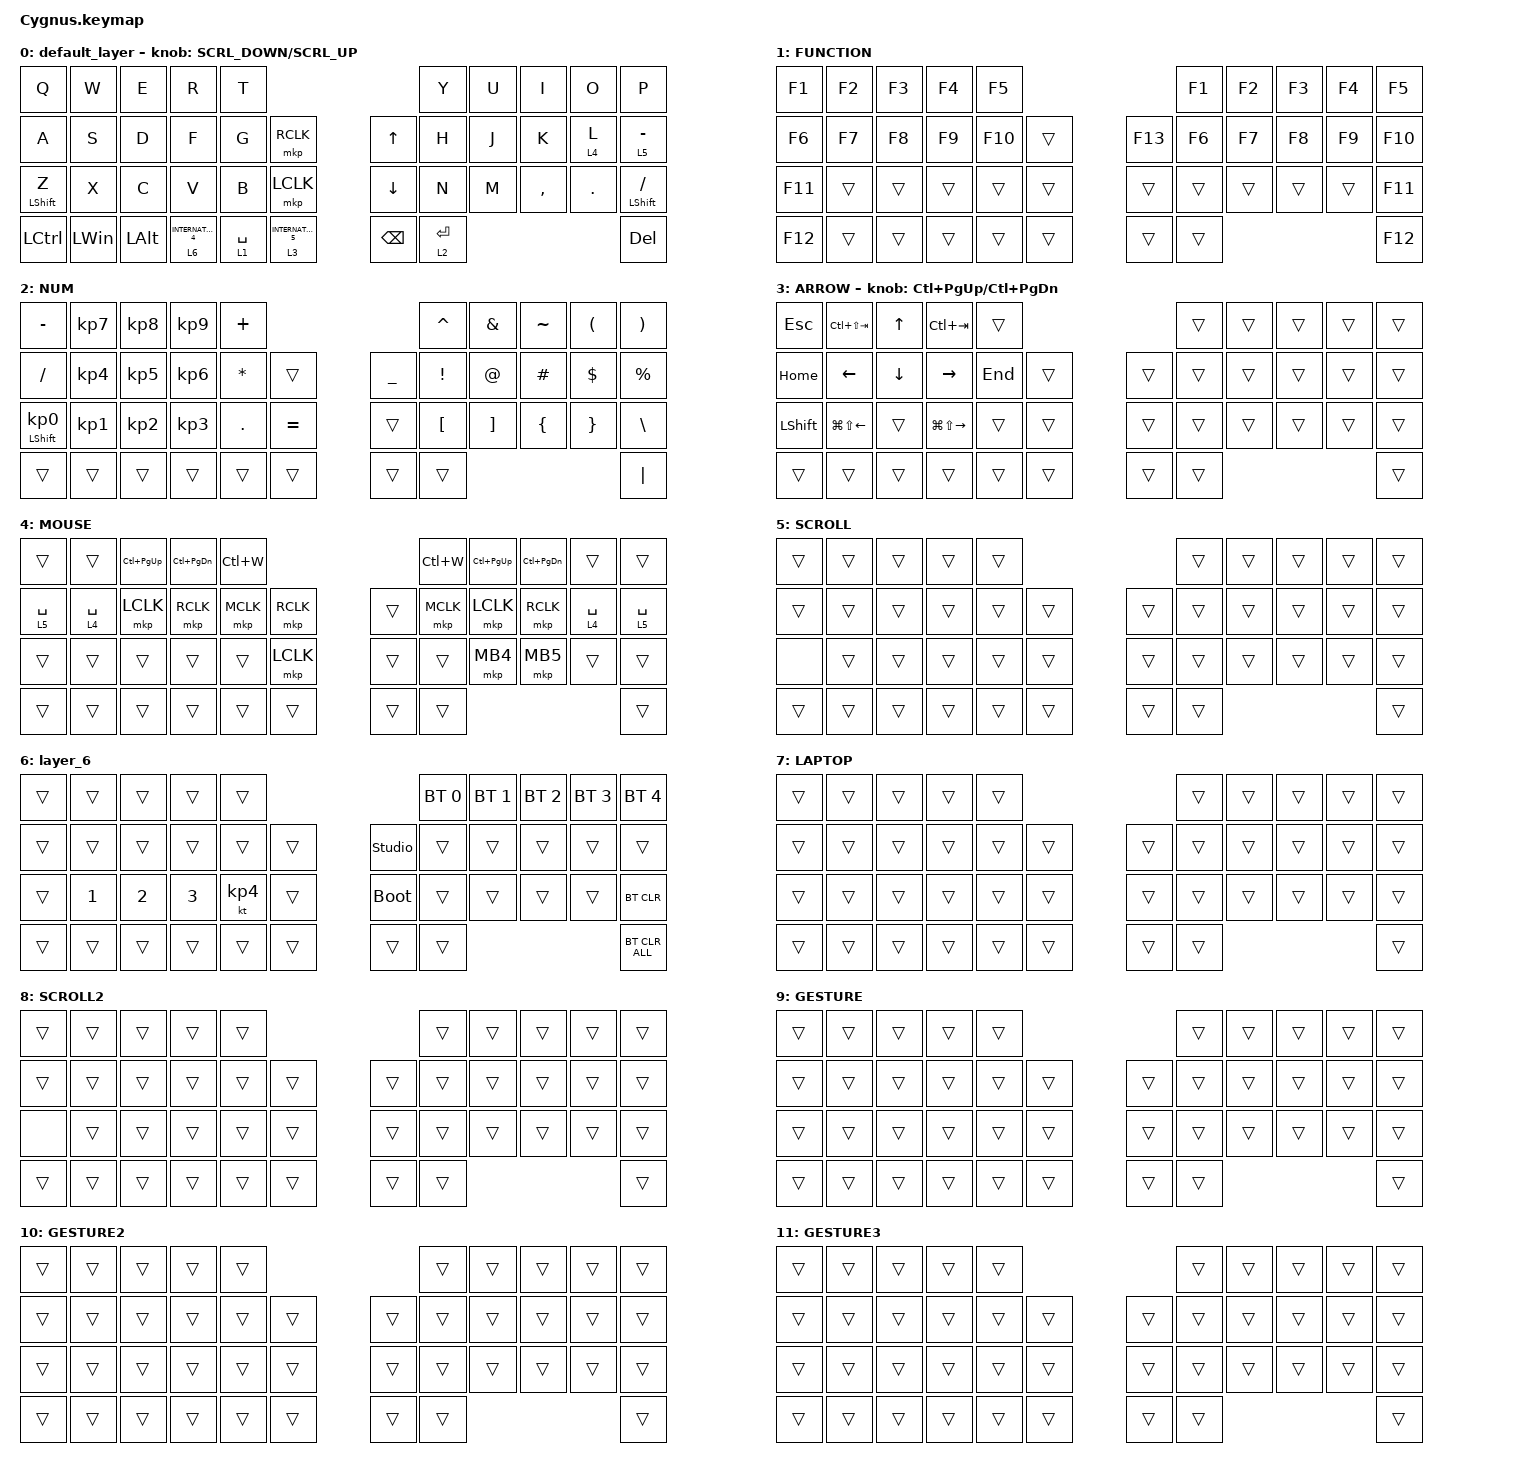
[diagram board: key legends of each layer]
#define ZMK_POINTING_DEFAULT_SCRL_VAL 120    // default: 10

#include <behaviors.dtsi>
#include <dt-bindings/zmk/bt.h>
#include <dt-bindings/zmk/keys.h>
#include <dt-bindings/zmk/pointing.h>
#include <dt-bindings/zmk/mouse-gesture.h>   // 追加(2026-10-01): GESTURE_UP などの名前

#define MOUSE 4
#define SCROLL 5
#define NUM 6

// 追加(2026-10-01): マウスジェスチャーの中身（S+H長押し中＝レイヤー9で有効）
&zip_mouse_gesture {
    always-active;          // レイヤー9に入っている間は常に判定する
    enable-eager-mode;      // 動きが決まった瞬間に実行する
    stroke-size = <200>;    // 1方向と判定する移動量（大きくすると大きく動かす必要あり）

    gs_back {
        pattern = <GESTURE_LEFT>;
        bindings = <&kp LA(LEFT)>;      // 戻る
    };
    gs_forward {
        pattern = <GESTURE_RIGHT>;
        bindings = <&kp LA(RIGHT)>;     // 進む
    };
    gs_top {
        pattern = <GESTURE_UP>;
        bindings = <&kp LC(HOME)>;      // ページ先頭
    };
    gs_bottom {
        pattern = <GESTURE_DOWN>;
        bindings = <&kp LC(END)>;       // ページ末尾
    };
};

&mt {
    flavor = "balanced";
    quick-tap-ms = <0>;
};

/ {
    // 追加(2026-10-01): 2組目のジェスチャー（Y+P長押し中＝レイヤー10で有効）
    // 左手側のビルドでは使わないので、参照されない時は省く(omit-if-no-ref)
    /omit-if-no-ref/ zip_gesture_vd: zip_gesture_vd {
        compatible = "zmk,input-processor-mouse-gesture";
        #input-processor-cells = <0>;
        always-active;
        enable-eager-mode;
        stroke-size = <200>;

        vd_prev {
            pattern = <GESTURE_LEFT>;
            bindings = <&kp LC(LG(LEFT))>;    // 前の仮想デスクトップ
        };
        vd_next {
            pattern = <GESTURE_RIGHT>;
            bindings = <&kp LC(LG(RIGHT))>;   // 次の仮想デスクトップ
        };
        win_max {
            pattern = <GESTURE_UP>;
            bindings = <&kp LG(UP)>;          // 最大化
        };
        win_restore {
            pattern = <GESTURE_DOWN>;
            bindings = <&kp LG(DOWN)>;        // 復元（もう一度で最小化）
        };
    };

    // 追加(2026-10-01): 3組目のジェスチャー（J+B長押し中＝レイヤー11で有効）
    /omit-if-no-ref/ zip_gesture_tab: zip_gesture_tab {
        compatible = "zmk,input-processor-mouse-gesture";
        #input-processor-cells = <0>;
        always-active;
        enable-eager-mode;
        stroke-size = <200>;            // 1タブ進むのに必要な移動量（約4mm）。150は体感差なし
        gesture-cooldown-ms = <200>;    // 変更(2026-10-01): 既定500→200。150は速いが閉じる誤爆が増える
        // partial-gesture-timeout-ms は既定400のまま（250は遅くなったため戻した）

        tab_prev {
            pattern = <GESTURE_LEFT>;
            bindings = <&kp LC(PG_UP)>;       // 前のタブ
        };
        tab_next {
            pattern = <GESTURE_RIGHT>;
            bindings = <&kp LC(PG_DN)>;       // 次のタブ
        };
        tab_reopen {
            pattern = <GESTURE_UP>;
            bindings = <&kp LC(LS(T))>;       // 閉じたタブを開き直す
        };
        tab_close {
            pattern = <GESTURE_DOWN>;
            bindings = <&kp LC(W)>;           // タブを閉じる
        };
    };

    combos {
        compatible = "zmk,combos";

        // 追加: 左手 23+24（大西配列のX+C）の同時押しで Tab
        tab_left {
            bindings = <&kp TAB>;
            key-positions = <23 24>;
            timeout-ms = <40>;               // 変更(2026-10-01): 50→40（全コンボの判定時間をそろえる）               // 50ミリ秒以内の同時押しで発動
            require-prior-idle-ms = <150>;   // 直前150ミリ秒以内に他のキーを打っていたら発動しない（タイピング中の誤爆防止）
        };

        // 追加: 右手 31+32（大西配列のM+J）の同時押しで Tab。左と鏡写しの位置
        tab_right {
            bindings = <&kp TAB>;
            key-positions = <31 32>;
            timeout-ms = <40>;               // 変更(2026-10-01): 50→40（J+Bと共有するJで固まる不具合を避ける）
            require-prior-idle-ms = <150>;
        };

        // 追加(2026-10-01): 右手 20+21（大西配列のS+H）
        //   タップ＝Alt+Tab、長押し＝レイヤー9（ボールでジェスチャー）
        //   AML中(4)にも使えるよう 0 4 7 で有効
        gesture_sh {
            bindings = <&lt 9 LA(TAB)>;
            key-positions = <20 21>;
            timeout-ms = <40>;
            require-prior-idle-ms = <150>;
            layers = <0 4 7>;
        };

        // 追加(2026-10-01): 右手 8+9（大西配列のY+P）
        //   タップ＝タスクビュー(Win+Tab)、長押し＝レイヤー10（仮想デスクトップ・ウィンドウのジェスチャー）
        gesture_yp {
            bindings = <&lt 10 LG(TAB)>;
            key-positions = <8 9>;
            timeout-ms = <40>;
            require-prior-idle-ms = <150>;
            layers = <0 4 7>;
        };

        // 追加(2026-10-01): 右手 32+33（大西配列のJ+B）
        //   タップ＝新しいタブ(Ctrl+T)、長押し＝レイヤー11（タブ操作のジェスチャー）
        gesture_jb {
            bindings = <&lt 11 LC(T)>;
            key-positions = <32 33>;
            timeout-ms = <40>;
            require-prior-idle-ms = <150>;
            layers = <0 4 7>;
        };

        // 追加(2026-10-01): 閉じる系コンボ（左右対称・ホームポジション）
        //   3キー＝タブを閉じる、＋小指＝ウィンドウを閉じる、＋親指＝タスクマネージャー
        // 左 I+A+O → タブを閉じる(Ctrl+W)
        close_tab_l {
            bindings = <&kp LC(W)>;
            key-positions = <11 12 13>;
            timeout-ms = <40>;
            require-prior-idle-ms = <150>;
            layers = <0 4 7>;
        };
        // 左 E+I+A+O → ウィンドウを閉じる(Alt+F4)
        close_win_l {
            bindings = <&kp LA(F4)>;
            key-positions = <10 11 12 13>;
            timeout-ms = <40>;
            require-prior-idle-ms = <150>;
            layers = <0 4 7>;
        };
        // 左 E+I+A+O+スペース → タスクマネージャー(Ctrl+Shift+Esc)
        taskmgr_l {
            bindings = <&kp LC(LS(ESCAPE))>;
            key-positions = <10 11 12 13 38>;
            timeout-ms = <40>;
            require-prior-idle-ms = <150>;
            layers = <0 4 7>;
        };
        // 右 T+N+S → タブを閉じる(Ctrl+W)
        close_tab_r {
            bindings = <&kp LC(W)>;
            key-positions = <18 19 20>;
            timeout-ms = <40>;
            require-prior-idle-ms = <150>;
            layers = <0 4 7>;
        };
        // 右 T+N+S+H → ウィンドウを閉じる(Alt+F4)
        close_win_r {
            bindings = <&kp LA(F4)>;
            key-positions = <18 19 20 21>;
            timeout-ms = <40>;
            require-prior-idle-ms = <150>;
            layers = <0 4 7>;
        };
        // 右 T+N+S+H+エンター → タスクマネージャー(Ctrl+Shift+Esc)
        taskmgr_r {
            bindings = <&kp LC(LS(ESCAPE))>;
            key-positions = <18 19 20 21 41>;
            timeout-ms = <40>;
            require-prior-idle-ms = <150>;
            layers = <0 4 7>;
        };

        // ---- 以下 2026-09-30 追加（ホーム段・上段コンボ）----
        // layers = <0 7>：通常時(0)とノートモード時(7)だけ有効。
        //   AML(レイヤー4)中はMB1〜MB5と重なるので無効にする。
        // timeout-ms は既存より短い40ms（ホーム段の連続打鍵での誤爆対策）

        // 左手 12+13（大西配列のA+O）→ 英数
        eisu_ao {
            bindings = <&kp LANG2>;
            key-positions = <12 13>;
            timeout-ms = <40>;
            require-prior-idle-ms = <150>;
            layers = <0 7>;
        };

        // 右手 18+19（大西配列のT+N）→ かな
        kana_tn {
            bindings = <&kp LANG1>;
            key-positions = <18 19>;
            timeout-ms = <40>;
            require-prior-idle-ms = <150>;
            layers = <0 7>;
        };

        // 左手 11+12（大西配列のI+A）→ Tab
        tab_ia {
            bindings = <&kp TAB>;
            key-positions = <11 12>;
            timeout-ms = <40>;
            require-prior-idle-ms = <150>;
            layers = <0 7>;
        };

        // 右手 19+20（大西配列のN+S）→ Tab
        tab_ns {
            bindings = <&kp TAB>;
            key-positions = <19 20>;
            timeout-ms = <40>;
            require-prior-idle-ms = <150>;
            layers = <0 7>;
        };

        // 左手 1+2（大西配列のL+U）→ Esc
        esc_lu {
            bindings = <&kp ESCAPE>;
            key-positions = <1 2>;
            timeout-ms = <40>;
            require-prior-idle-ms = <150>;
            layers = <0 7>;
        };

        // 右手 7+8（大西配列のR+Y）→ Esc
        esc_ry {
            bindings = <&kp ESCAPE>;
            key-positions = <7 8>;
            timeout-ms = <40>;
            require-prior-idle-ms = <150>;
            layers = <0 7>;
        };
    };

    macros {
        to_layer_0: to_layer_0 {
            compatible = "zmk,behavior-macro-one-param";
            #binding-cells = <1>;
            bindings = <&to 0 &macro_param_1to1 &kp MACRO_PLACEHOLDER>;
            label = "TO_LAYER_0";
        };
    };

    behaviors {
        lt_to_layer_0: lt_to_layer_0 {
            compatible = "zmk,behavior-hold-tap";
            label = "LAYER_TAP_TO_0";
            bindings = <&mo>, <&to_layer_0>;

            #binding-cells = <2>;
            tapping-term-ms = <200>;
        };

        // 追加: 長押しでレイヤー移動、「一度タップしてすぐ長押し」でキーの連続入力（BSのリピート用）
        lt_rep: lt_rep {
            compatible = "zmk,behavior-hold-tap";
            display-name = "LT Repeat";
            #binding-cells = <2>;
            flavor = "tap-preferred";
            tapping-term-ms = <200>;
            quick-tap-ms = <200>;
            bindings = <&mo>, <&kp>;
        };

        ROTATE: ROTATE {
            compatible = "zmk,behavior-sensor-rotate-var";
            label = "ROTATE";
            #sensor-binding-cells = <2>;
            bindings = <&msc>, <&msc>;

            tap-ms = <20>;
        };
    };

    keymap {
        compatible = "zmk,keymap";

        default_layer {
            bindings = <
&kp Q             &kp W         &kp E         &kp R                  &kp T                                                   &kp Y        &kp U  &kp I      &kp O    &kp P
&kp A             &kp S         &kp D         &kp F                  &kp G        &mkp RCLK                  &kp UP_ARROW    &kp H        &kp J  &kp K      &lt 4 L  &lt 5 MINUS
&mt LEFT_SHIFT Z  &kp X         &kp C         &kp V                  &kp B        &mkp LCLK                  &kp DOWN_ARROW  &kp N        &kp M  &kp COMMA  &kp DOT  &mt LEFT_SHIFT SLASH
&kp LCTRL         &kp LEFT_WIN  &kp LEFT_ALT  &lt 6 INTERNATIONAL_4  &lt 1 SPACE  &lt 3 INTERNATIONAL_5      &kp BACKSPACE   &lt 2 ENTER                             &kp DEL
            >;

            sensor-bindings = <&ROTATE SCRL_DOWN SCRL_UP>;
        };

        FUNCTION {
            bindings = <
&kp F1   &kp F2  &kp F3  &kp F4  &kp F5                        &kp F1  &kp F2  &kp F3  &kp F4  &kp F5
&kp F6   &kp F7  &kp F8  &kp F9  &kp F10  &trans      &kp F13  &kp F6  &kp F7  &kp F8  &kp F9  &kp F10
&kp F11  &trans  &trans  &trans  &trans   &trans      &trans   &trans  &trans  &trans  &trans  &kp F11
&kp F12  &trans  &trans  &trans  &trans   &trans      &trans   &trans                          &kp F12
            >;
        };

        NUM {
            bindings = <
&kp MINUS                   &kp KP_NUMBER_7  &kp KP_NUMBER_8  &kp KP_NUMBER_9  &kp PLUS                                     &kp CARET         &kp AMPERSAND      &kp TILDE       &kp LEFT_PARENTHESIS  &kp RIGHT_PARENTHESIS
&kp SLASH                   &kp KP_NUMBER_4  &kp KP_NUMBER_5  &kp KP_NUMBER_6  &kp ASTERISK  &trans         &kp UNDERSCORE  &kp EXCLAMATION   &kp AT_SIGN        &kp HASH        &kp DOLLAR            &kp PERCENT
&mt LEFT_SHIFT KP_NUMBER_0  &kp KP_NUMBER_1  &kp KP_NUMBER_2  &kp KP_NUMBER_3  &kp PERIOD    &kp EQUAL      &trans          &kp LEFT_BRACKET  &kp RIGHT_BRACKET  &kp LEFT_BRACE  &kp RIGHT_BRACE       &kp BACKSLASH
&trans                      &trans           &trans           &trans           &trans        &trans         &trans          &trans                                                                     &kp PIPE
            >;
        };

        ARROW {
            bindings = <
&kp ESCAPE      &kp LC(LS(TAB))         &kp UP_ARROW    &kp LC(TAB)              &trans                       &trans  &trans  &trans  &trans  &trans
&kp HOME        &kp LEFT_ARROW          &kp DOWN_ARROW  &kp RIGHT_ARROW          &kp END  &trans      &trans  &trans  &trans  &trans  &trans  &trans
&kp LEFT_SHIFT  &kp LG(LS(LEFT_ARROW))  &trans          &kp LG(LS(RIGHT_ARROW))  &trans   &trans      &trans  &trans  &trans  &trans  &trans  &trans
&trans          &trans                  &trans          &trans                   &trans   &trans      &trans  &trans                          &trans
            >;

            sensor-bindings = <&inc_dec_kp LC(PAGE_UP) LC(PAGE_DOWN)>;
        };

        MOUSE {
            bindings = <
&trans       &trans       &kp LC(PAGE_UP)  &kp LC(PAGE_DOWN)  &kp LC(W)                         &kp LC(W)  &kp LC(PAGE_UP)  &kp LC(PAGE_DOWN)  &trans       &trans
&lt 5 SPACE  &lt 4 SPACE  &mkp LCLK        &mkp RCLK          &mkp MCLK  &mkp RCLK      &trans  &mkp MCLK  &mkp LCLK        &mkp RCLK          &lt 4 SPACE  &lt 5 SPACE
&trans       &trans       &trans           &trans             &trans     &mkp LCLK      &trans  &trans     &mkp MB4         &mkp MB5           &trans       &trans
&trans       &trans       &trans           &trans             &trans     &trans         &trans  &trans                                                      &trans
            >;
        };

        SCROLL {
            bindings = <
&trans  &trans  &trans  &trans  &trans                      &trans  &trans  &trans  &trans  &trans
&trans  &trans  &trans  &trans  &trans  &trans      &trans  &trans  &trans  &trans  &trans  &trans
&none   &trans  &trans  &trans  &trans  &trans      &trans  &trans  &trans  &trans  &trans  &trans
&trans  &trans  &trans  &trans  &trans  &trans      &trans  &trans                          &trans
            >;
        };

        layer_6 {
            bindings = <
&trans  &trans        &trans        &trans        &trans                                 &bt BT_SEL 0  &bt BT_SEL 1  &bt BT_SEL 2  &bt BT_SEL 3  &bt BT_SEL 4
&trans  &trans        &trans        &trans        &trans     &trans      &studio_unlock  &trans        &trans        &trans        &trans        &trans
&trans  &kp NUMBER_1  &kp NUMBER_2  &kp NUMBER_3  &kt KP_N4  &trans      &bootloader     &trans        &trans        &trans        &trans        &bt BT_CLR
&trans  &trans        &trans        &trans        &trans     &trans      &trans          &trans                                                  &bt BT_CLR_ALL
            >;
        };
        // 追加: レイヤー7 ノートモード（中身は空。オンの間だけカーソルが遅くなる）
        laptop_mode {
            display-name = "LAPTOP";
            bindings = <
&trans  &trans  &trans  &trans  &trans  &trans  &trans  &trans  &trans  &trans
&trans  &trans  &trans  &trans  &trans  &trans  &trans  &trans  &trans  &trans  &trans  &trans
&trans  &trans  &trans  &trans  &trans  &trans  &trans  &trans  &trans  &trans  &trans  &trans
&trans  &trans  &trans  &trans  &trans  &trans  &trans  &trans  &trans
            >;
        };

        // 追加: レイヤー8 スクロール（従来のレイヤー5と同じ中身。ノートモード中でもスクロールが効く）
        scroll_top {
            display-name = "SCROLL2";
            bindings = <
&trans  &trans  &trans  &trans  &trans  &trans  &trans  &trans  &trans  &trans
&trans  &trans  &trans  &trans  &trans  &trans  &trans  &trans  &trans  &trans  &trans  &trans
&none  &trans  &trans  &trans  &trans  &trans  &trans  &trans  &trans  &trans  &trans  &trans
&trans  &trans  &trans  &trans  &trans  &trans  &trans  &trans  &trans
            >;
        };

        // 追加(2026-10-01): レイヤー9 ジェスチャー（S+H長押し中だけ有効。キーは全部下のレイヤーのまま）
        gesture_sh_layer {
            display-name = "GESTURE";
            bindings = <
&trans  &trans  &trans  &trans  &trans  &trans  &trans  &trans  &trans  &trans
&trans  &trans  &trans  &trans  &trans  &trans  &trans  &trans  &trans  &trans  &trans  &trans
&trans  &trans  &trans  &trans  &trans  &trans  &trans  &trans  &trans  &trans  &trans  &trans
&trans  &trans  &trans  &trans  &trans  &trans  &trans  &trans  &trans
            >;
        };

        // 追加(2026-10-01): レイヤー10 ジェスチャー2（Y+P長押し中だけ有効。キーは全部下のレイヤーのまま）
        gesture_yp_layer {
            display-name = "GESTURE2";
            bindings = <
&trans  &trans  &trans  &trans  &trans  &trans  &trans  &trans  &trans  &trans
&trans  &trans  &trans  &trans  &trans  &trans  &trans  &trans  &trans  &trans  &trans  &trans
&trans  &trans  &trans  &trans  &trans  &trans  &trans  &trans  &trans  &trans  &trans  &trans
&trans  &trans  &trans  &trans  &trans  &trans  &trans  &trans  &trans
            >;
        };

        // 追加(2026-10-01): レイヤー11 ジェスチャー3（J+B長押し中だけ有効。キーは全部下のレイヤーのまま）
        gesture_jb_layer {
            display-name = "GESTURE3";
            bindings = <
&trans  &trans  &trans  &trans  &trans  &trans  &trans  &trans  &trans  &trans
&trans  &trans  &trans  &trans  &trans  &trans  &trans  &trans  &trans  &trans  &trans  &trans
&trans  &trans  &trans  &trans  &trans  &trans  &trans  &trans  &trans  &trans  &trans  &trans
&trans  &trans  &trans  &trans  &trans  &trans  &trans  &trans  &trans
            >;
        };

    };
};
